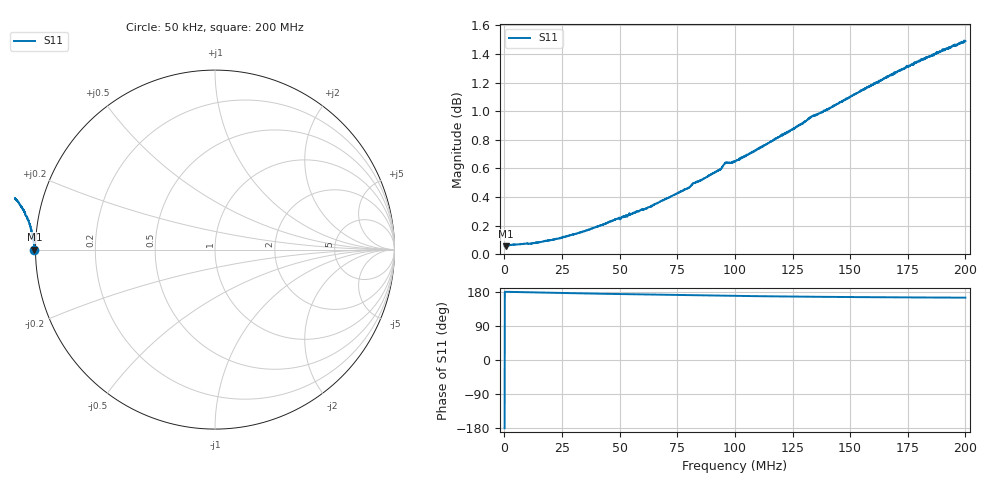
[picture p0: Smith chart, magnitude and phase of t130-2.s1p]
# HZ S RI R 50
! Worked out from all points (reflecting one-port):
!   2020 points, 50 kHz to 200 MHz, reference 50 ohm
!   lowest |S11| = 0.1 dB at 446.1 kHz (marker M1)
!   phase of S11 starts at -180 deg and turns -15 deg over the sweep
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50000  -1.007 -5.22e-05
446136  -1.007 0.000437
1.143891e7  -1.008 0.0246
2.51056e7  -1.012 0.0551
3.629644e7  -1.017 0.0795
5.006217e7  -1.023 0.1087
5.818296e7  -1.028 0.1251
6.135205e7  -1.029 0.1321
7.511777e7  -1.039 0.1585
7.858396e7  -1.041 0.1651
8.086174e7  -1.043 0.1683
8.205015e7  -1.045 0.1715
8.412987e7  -1.046 0.1756
9.314196e7  -1.053 0.1899
9.44294e7  -1.055 0.1915
9.581588e7  -1.059 0.1954
9.749946e7  -1.058 0.2002
1.000743e8  -1.058 0.2042
1.085913e8  -1.065 0.2163
1.250309e8  -1.079 0.2403
1.309729e8  -1.086 0.2477
1.327556e8  -1.088 0.251
1.358256e8  -1.09 0.2558
1.500865e8  -1.102 0.2713
1.618716e8  -1.113 0.2845
1.750431e8  -1.125 0.2969
1.928692e8  -1.14 0.3107
1.999996e8  -1.144 0.3158
